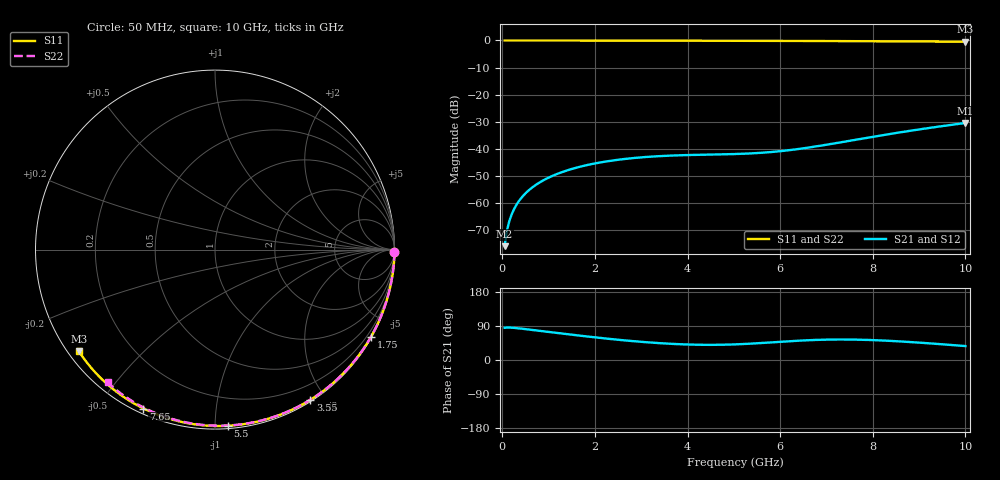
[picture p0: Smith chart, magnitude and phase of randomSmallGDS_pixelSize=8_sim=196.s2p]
! freq	dB(S11)	phase(S11)	dB(S12)	phase(S12)
!  dB(S21)	phase(S21)	dB(S22)	phase(S22)
!S-par simulation data
#  GHz  S  DB  R 50
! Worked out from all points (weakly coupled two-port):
!   200 points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, 50 MHz to 10 GHz, reference 50 ohm
!   highest |S21| = -30.50 dB at 10 GHz (marker M1); lowest = -76.0 dB at 50 MHz (marker M2)
!   lowest |S11| = -0.5 dB at 10 GHz (marker M3), VSWR 36.72, Z = 1.51 - j16.6 ohm
!   |S11| at or under -10 dB: nowhere
!   |S22| runs from -0.4 to 0.0 dB; largest |S21 - S12| = 0
!   S11 on the Smith chart (normalised r, x): 50 MHz: open; 1.75 GHz: 0.03, -3.84; 3.55 GHz: 0.02, -1.82; 5.5 GHz: 0.02, -1.07; 7.65 GHz: 0.02, -0.65; 10 GHz: 0.03, -0.33
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0.05  -0.00 -0.8  -76.02 84.9  -76.02 84.9  -0.00 -0.8
0.1  -0.00 -1.7  -70.30 85.6  -70.30 85.6  -0.00 -1.5
0.15  -0.00 -2.5  -66.85 85.7  -66.85 85.7  -0.00 -2.3
0.2  -0.00 -3.4  -64.39 85.3  -64.39 85.3  -0.00 -3.0
0.25  -0.00 -4.2  -62.47 84.8  -62.47 84.8  -0.00 -3.8
0.35  -0.00 -5.9  -59.57 83.6  -59.57 83.6  -0.00 -5.3
0.5  -0.01 -8.5  -56.51 81.5  -56.51 81.5  -0.01 -7.5
0.7  -0.01 -11.8  -53.66 78.6  -53.66 78.6  -0.01 -10.5
1  -0.02 -16.8  -50.69 74.1  -50.69 74.1  -0.02 -15.0
1.35  -0.03 -22.6  -48.30 68.9  -48.30 68.9  -0.03 -20.2
1.75  -0.04 -29.2  -46.37 63.2  -46.37 63.2  -0.03 -26.0
2.5  -0.05 -41.3  -44.09 53.4  -44.09 53.4  -0.05 -36.8
3.4  -0.07 -55.3  -42.74 44.4  -42.74 44.4  -0.07 -49.5
3.55  -0.08 -57.6  -42.62 43.3  -42.62 43.3  -0.07 -51.5
4.3  -0.10 -68.8  -42.24 40.1  -42.24 40.1  -0.09 -61.7
5.05  -0.12 -79.6  -41.96 41.3  -41.96 41.3  -0.11 -71.5
5.5  -0.14 -85.9  -41.62 44.1  -41.62 44.1  -0.12 -77.2
6.05  -0.16 -93.4  -40.83 48.4  -40.83 48.4  -0.15 -84.0
6.7  -0.20 -102.0  -39.36 52.7  -39.36 52.7  -0.18 -91.9
7.65  -0.26 -114.2  -36.63 53.7  -36.63 53.7  -0.23 -103.0
8.35  -0.31 -123.0  -34.61 50.7  -34.61 50.7  -0.28 -110.9
10  -0.47 -143.2  -30.50 36.7  -30.50 36.7  -0.43 -128.9
